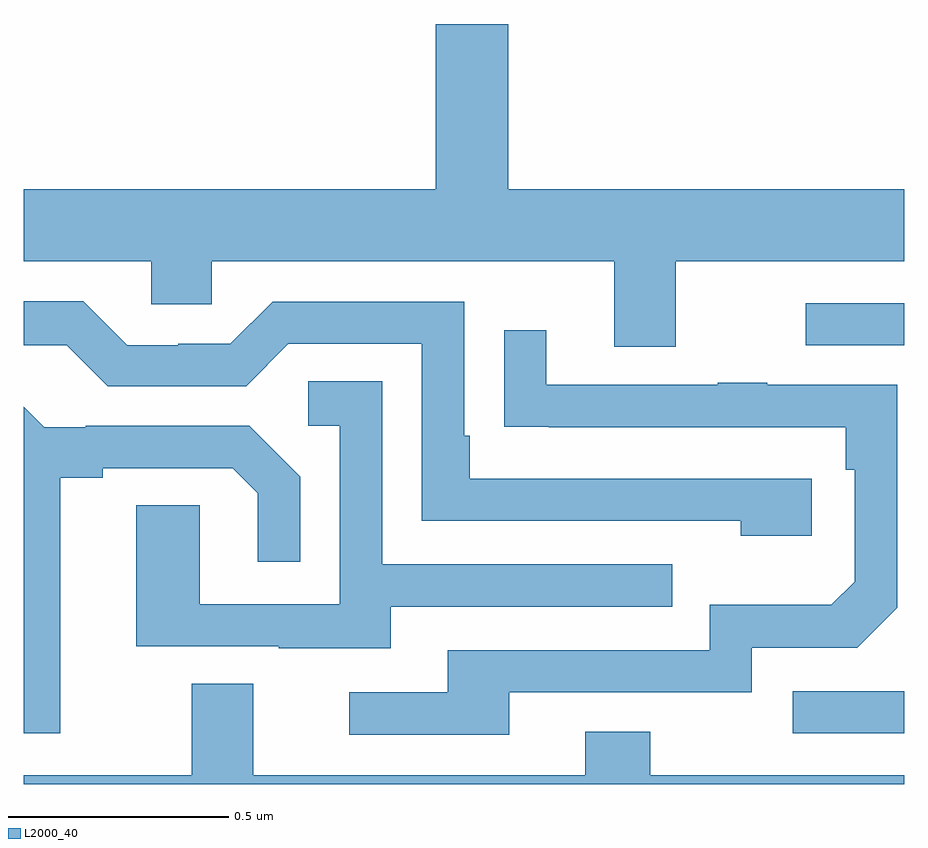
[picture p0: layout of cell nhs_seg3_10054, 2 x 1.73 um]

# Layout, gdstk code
import gdstk
lib = gdstk.Library(unit=1e-6, precision=1e-09)
def R(c, l, rs):  # rectangles x0, y0, x1, y1
    for r in rs: c.add(gdstk.rectangle(r[:2], r[2:], *l))
def P(c, l, *ps):  # polygons
    for p in ps: c.add(gdstk.Polygon(p, *l))
L2000_40 = (2000, 40)

nhs_seg3_10054 = lib.new_cell('nhs_seg3_10054')
R(nhs_seg3_10054, L2000_40, [(237.747,694.515,238,694.611), (237.777,695.397,238,695.493)])
P(nhs_seg3_10054, L2000_40, [(237.481,695.588),(238,695.588),(238,695.752),(237.1,695.752),(237.1,696.127),(236.936,696.127),(236.936,695.752),(236,695.752),(236,695.588),(236.289,695.588),(236.289,695.49),(236.427,695.49),(236.427,695.588),(237.341,695.588),(237.341,695.394),(237.481,695.394)],
  [(237.79,695.094),(237.013,695.094),(237.013,695.191),(237,695.191),(237,695.496),(236.565,695.496),(236.469,695.4),(236.351,695.4),(236.351,695.397),(236.235,695.397),(236.135,695.497),(236,695.497),(236,695.397),(236.097,695.397),(236.19,695.304),(236.505,695.304),(236.601,695.4),(236.904,695.4),(236.904,694.998),(237.629,694.998),(237.629,694.964),(237.79,694.964)],
  [(237.103,694.608),(237.654,694.608),(237.654,694.71),(237.894,694.71),(237.984,694.8),(237.984,695.307),(237.689,695.307),(237.689,695.312),(237.577,695.312),(237.577,695.307),(237.187,695.307),(237.187,695.431),(237.091,695.431),(237.091,695.212),(237.193,695.212),(237.193,695.211),(237.868,695.211),(237.868,695.114),(237.888,695.114),(237.888,694.86),(237.835,694.807),(237.558,694.807),(237.558,694.704),(236.963,694.704),(236.963,694.608),(236.739,694.608),(236.739,694.512),(237.103,694.512)],
  [(236.833,694.803),(237.473,694.803),(237.473,694.899),(236.814,694.899),(236.814,695.315),(236.646,695.315),(236.646,695.214),(236.718,695.214),(236.718,694.809),(236.4,694.809),(236.4,695.033),(236.255,695.033),(236.255,694.713),(236.579,694.713),(236.579,694.709),(236.833,694.709)],
  [(236.083,695.096),(236.179,695.096),(236.179,695.118),(236.474,695.118),(236.531,695.061),(236.531,694.905),(236.628,694.905),(236.628,695.098),(236.512,695.214),(236.14,695.214),(236.14,695.211),(236.046,695.211),(236,695.257),(236,694.515),(236.083,694.515)],
  [(238,694.42),(237.423,694.42),(237.423,694.519),(237.275,694.519),(237.275,694.42),(236.521,694.42),(236.521,694.628),(236.381,694.628),(236.381,694.42),(236,694.42),(236,694.4),(238,694.4)])

lib.write_gds('nhs_seg3_10054.gds')
